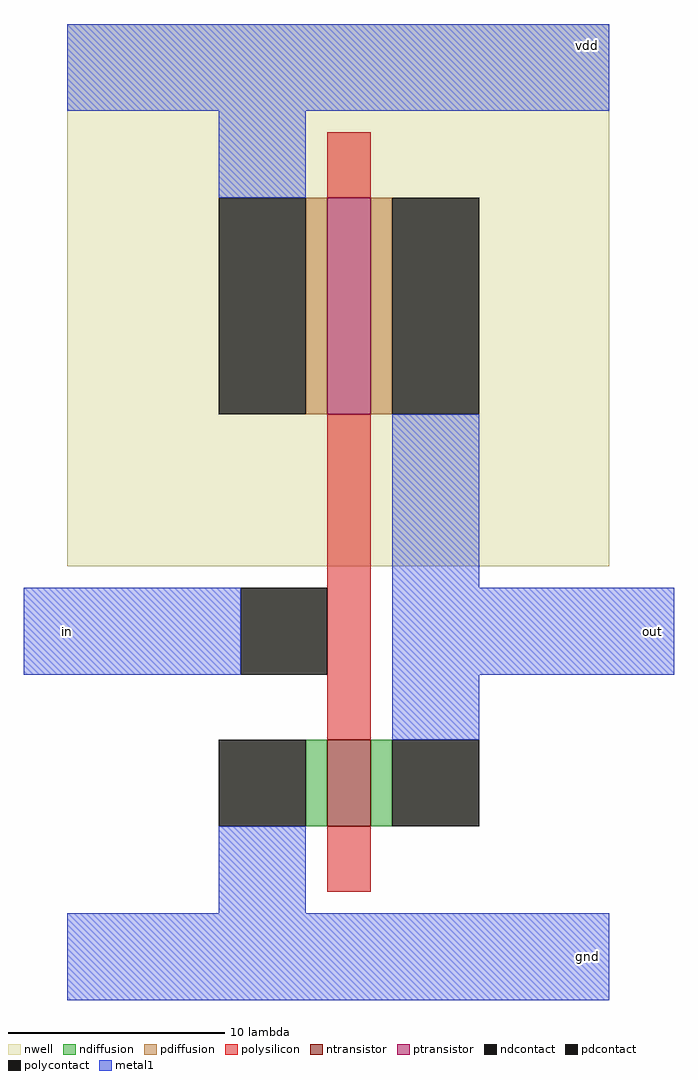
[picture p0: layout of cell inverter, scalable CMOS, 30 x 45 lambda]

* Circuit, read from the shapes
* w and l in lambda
.subckt inverter gnd in out vdd
M1 out in gnd VSUBS nfet w=4 l=2
M2 out in vdd n1 pfet w=10 l=2
.ends

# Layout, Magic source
magic
tech scmos
<< nwell >>
rect -8 -5 17 20
<< ntransistor >>
rect 4 -17 6 -13
<< ptransistor >>
rect 4 2 6 12
<< ndiffusion >>
rect 3 -17 4 -13
rect 6 -17 7 -13
<< pdiffusion >>
rect 3 2 4 12
rect 6 2 7 12
<< ndcontact >>
rect -1 -17 3 -13
rect 7 -17 11 -13
<< pdcontact >>
rect -1 2 3 12
rect 7 2 11 12
<< polysilicon >>
rect 4 12 6 15
rect 4 -13 6 2
rect 4 -20 6 -17
<< polycontact >>
rect 0 -10 4 -6
<< metal1 >>
rect -8 16 17 20
rect -1 12 3 16
rect 7 -6 11 2
rect -10 -10 0 -6
rect 7 -10 20 -6
rect 7 -13 11 -10
rect -1 -21 3 -17
rect -8 -25 17 -21
<< labels >>
rlabel metal1 -8 -8 -8 -8 3 in
rlabel metal1 19 -8 19 -8 7 out
rlabel metal1 16 19 16 19 6 vdd
rlabel metal1 16 -23 16 -23 8 gnd
<< end >>
